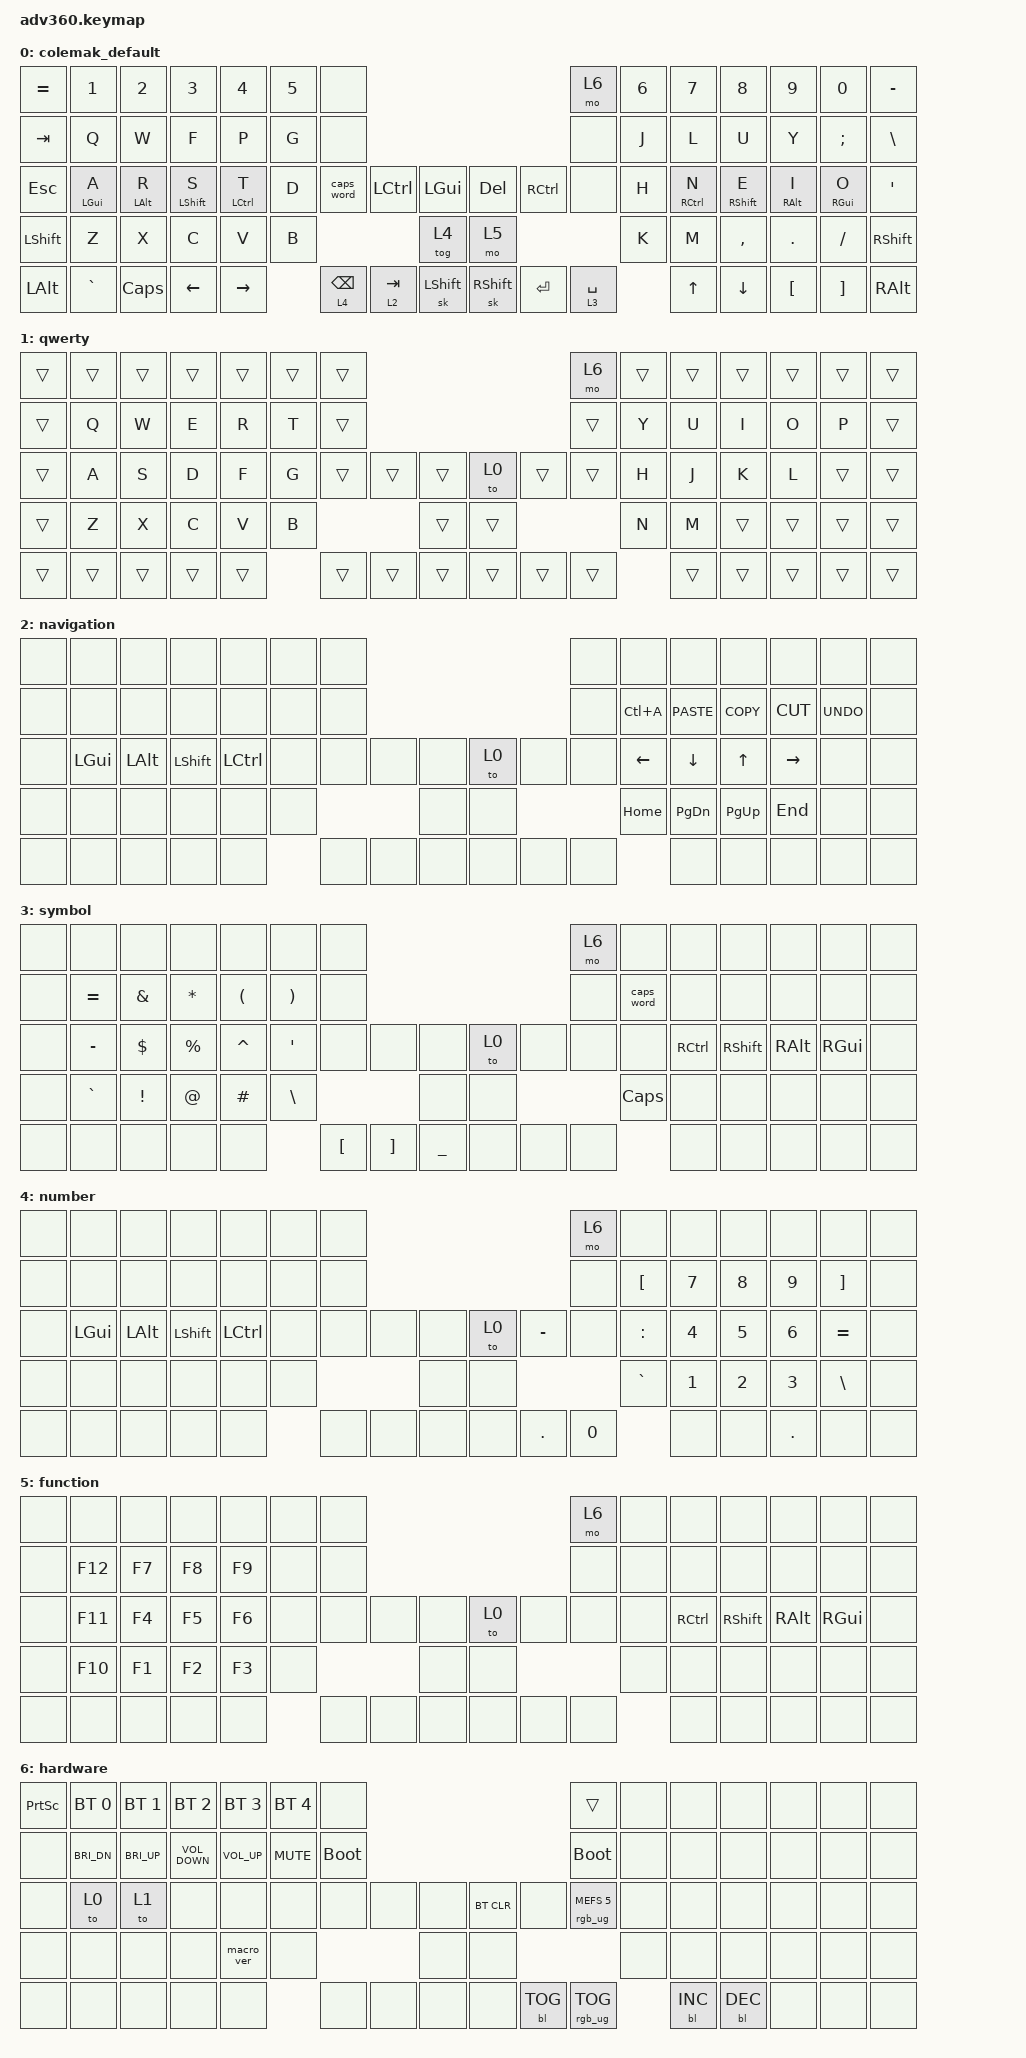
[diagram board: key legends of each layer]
/*
 * Copyright (c) 2020 The ZMK Contributors
 *
 * SPDX-License-Identifier: MIT
 */
/* THIS FILE WAS GENERATED!
 *
 * This file was generated automatically. You may or may not want to
 * edit it directly.
 */

#include <behaviors.dtsi>
#include <dt-bindings/zmk/backlight.h>
#include <dt-bindings/zmk/bt.h>
#include <dt-bindings/zmk/keys.h>
#include <dt-bindings/zmk/rgb.h>

&sk { quick-release; };

&lt {
    flavor = "balanced";
    quick-tap-ms = <175>;
};

&caps_word { continue-list = <UNDERSCORE BACKSPACE DELETE MINUS>; };

/ {
    behaviors {
        #include "macros.dtsi"
    #include "version.dtsi"

        hml: homerow_mods_left {
            compatible = "zmk,behavior-hold-tap";
            label = "HOMEROW_LEFT";
            #binding-cells = <2>;
            tapping-term-ms = <280>;
            quick_tap_ms = <175>;
            flavor = "balanced";
            bindings = <&kp>, <&kp>;

            quick-tap-ms = <175>;
            require-prior-idle-ms = <150>;
            hold-trigger-key-positions = <22 23 24 25 26 36 37 38 39 40 48 49 50 51 52 64 65 66 67 68 69 70 71 72 73 74 75>;
            hold-trigger-on-release;
        };

        hmr: homerow_mods_right {
            compatible = "zmk,behavior-hold-tap";
            label = "HOMEROW_RIGHT";
            #binding-cells = <2>;
            tapping-term-ms = <280>;
            quick_tap_ms = <175>;
            flavor = "balanced";
            bindings = <&kp>, <&kp>;

            quick-tap-ms = <175>;
            require-prior-idle-ms = <150>;
            hold-trigger-key-positions = <15 16 17 18 19 29 30 31 32 33 43 44 45 46 47 64 65 66 67 68 69 70 71 72 73 74 75>;
            hold-trigger-on-release;
        };
    };

    combos {
        compatible = "zmk,combos";

        combo_mo_fn {
            bindings = <&mo 5>;
            key-positions = <66 69>;
        };
    };

    keymap {
        compatible = "zmk,keymap";

        colemak_default {
            bindings = <
&kp EQUAL  &kp N1       &kp N2           &kp N3         &kp N4               &kp N5  &none                                                              &mo 6        &kp N6  &kp N7        &kp N8         &kp N9       &kp N0         &kp MINUS
&kp TAB    &kp Q        &kp W            &kp F          &kp P                &kp G   &none                                                              &none        &kp J   &kp L         &kp U          &kp Y        &kp SEMICOLON  &kp BSLH
&kp ESC    &hml LGUI A  &hml LEFT_ALT R  &hml LSHIFT S  &hml LEFT_CONTROL T  &kp D   &caps_word       &kp LCTRL  &kp LGUI        &kp DELETE  &kp RCTRL  &none        &kp H   &hmr RCTRL N  &hmr RSHIFT E  &hmr RALT I  &hmr RGUI O    &kp SQT
&kp LSHFT  &kp Z        &kp X            &kp C          &kp V                &kp B                               &tog 4          &mo 5                               &kp K   &kp M         &kp COMMA      &kp DOT      &kp FSLH       &kp RSHFT
&kp LALT   &kp GRAVE    &kp CAPSLOCK     &kp LEFT       &kp RIGHT                    &lt 4 BACKSPACE  &lt 2 TAB  &sk LSHIFT      &sk RSHIFT  &kp ENTER  &lt 3 SPACE          &kp UP        &kp DOWN       &kp LBKT     &kp RBKT       &kp RIGHT_ALT
            >;
        };

        qwerty {
            bindings = <
&trans  &trans  &trans  &trans  &trans  &trans  &trans                                      &mo 6   &trans  &trans  &trans  &trans  &trans  &trans
&trans  &kp Q   &kp W   &kp E   &kp R   &kp T   &trans                                      &trans  &kp Y   &kp U   &kp I   &kp O   &kp P   &trans
&trans  &kp A   &kp S   &kp D   &kp F   &kp G   &trans  &trans  &trans      &to 0   &trans  &trans  &kp H   &kp J   &kp K   &kp L   &trans  &trans
&trans  &kp Z   &kp X   &kp C   &kp V   &kp B                   &trans      &trans                  &kp N   &kp M   &trans  &trans  &trans  &trans
&trans  &trans  &trans  &trans  &trans          &trans  &trans  &trans      &trans  &trans  &trans          &trans  &trans  &trans  &trans  &trans
            >;
        };

        navigation {
            bindings = <
&none  &none     &none         &none           &none      &none  &none                                  &none  &none      &none          &none       &none      &none       &none
&none  &none     &none         &none           &none      &none  &none                                  &none  &kp LC(A)  &kp K_PASTE    &kp K_COPY  &kp K_CUT  &kp K_UNDO  &none
&none  &kp LGUI  &kp LEFT_ALT  &kp LEFT_SHIFT  &kp LCTRL  &none  &none  &none  &none      &to 0  &none  &none  &kp LEFT   &kp DOWN       &kp UP      &kp RIGHT  &none       &none
&none  &none     &none         &none           &none      &none                &none      &none                &kp HOME   &kp PAGE_DOWN  &kp PG_UP   &kp END    &none       &none
&none  &none     &none         &none           &none             &none  &none  &none      &none  &none  &none             &none          &none       &none      &none       &none
            >;
        };

        symbol {
            bindings = <
&none  &none      &none            &none         &none                 &none                  &none                                                                  &mo 6  &none         &none      &none       &none     &none     &none
&none  &kp EQUAL  &kp AMPERSAND    &kp ASTERISK  &kp LEFT_PARENTHESIS  &kp RIGHT_PARENTHESIS  &none                                                                  &none  &caps_word    &none      &none       &none     &none     &none
&none  &kp MINUS  &kp DOLLAR       &kp PERCENT   &kp CARET             &kp SQT                &none             &none              &none               &to 0  &none  &none  &none         &kp RCTRL  &kp RSHIFT  &kp RALT  &kp RGUI  &none
&none  &kp GRAVE  &kp EXCLAMATION  &kp AT        &kp HASH              &kp BACKSLASH                                               &none               &none                &kp CAPSLOCK  &none      &none       &none     &none     &none
&none  &none      &none            &none         &none                                        &kp LEFT_BRACKET  &kp RIGHT_BRACKET  &kp UNDERSCORE      &none  &none  &none                &none      &none       &none     &none     &none
            >;
        };

        number {
            bindings = <
&none  &none     &none     &none       &none      &none  &none                                       &mo 6   &none             &none         &none         &none         &none              &none
&none  &none     &none     &none       &none      &none  &none                                       &none   &kp LEFT_BRACKET  &kp N7        &kp N8        &kp N9        &kp RIGHT_BRACKET  &none
&none  &kp LGUI  &kp LALT  &kp LSHIFT  &kp LCTRL  &none  &none  &none  &none      &to 0  &kp MINUS   &none   &kp COLON         &kp NUMBER_4  &kp N5        &kp NUMBER_6  &kp EQUAL          &none
&none  &none     &none     &none       &none      &none                &none      &none                      &kp GRAVE         &kp NUMBER_1  &kp NUMBER_2  &kp NUMBER_3  &kp BACKSLASH      &none
&none  &none     &none     &none       &none             &none  &none  &none      &none  &kp PERIOD  &kp N0                    &none         &none         &kp PERIOD    &none              &none
            >;
        };

        function {
            bindings = <
&none  &none    &none   &none   &none   &none  &none                                  &mo 6  &none  &none      &none       &none     &none     &none
&none  &kp F12  &kp F7  &kp F8  &kp F9  &none  &none                                  &none  &none  &none      &none       &none     &none     &none
&none  &kp F11  &kp F4  &kp F5  &kp F6  &none  &none  &none  &none      &to 0  &none  &none  &none  &kp RCTRL  &kp RSHIFT  &kp RALT  &kp RGUI  &none
&none  &kp F10  &kp F1  &kp F2  &kp F3  &none                &none      &none                &none  &none      &none       &none     &none     &none
&none  &none    &none   &none   &none          &none  &none  &none      &none  &none  &none         &none      &none       &none     &none     &none
            >;
        };

        hardware {
            bindings = <
&kp PRINTSCREEN  &bt BT_SEL 0  &bt BT_SEL 1  &bt BT_SEL 2       &bt BT_SEL 3     &bt BT_SEL 4  &none                                                  &trans                  &none  &none       &none       &none  &none  &none
&none            &kp C_BRI_DN  &kp C_BRI_UP  &kp C_VOLUME_DOWN  &kp C_VOLUME_UP  &kp C_MUTE    &bootloader                                            &bootloader             &none  &none       &none       &none  &none  &none
&none            &to 0         &to 1         &none              &none            &none         &none        &none  &none      &bt BT_CLR  &none       &rgb_ug RGB_MEFS_CMD 5  &none  &none       &none       &none  &none  &none
&none            &none         &none         &none              &macro_ver       &none                             &none      &none                                           &none  &none       &none       &none  &none  &none
&none            &none         &none         &none              &none                          &none        &none  &none      &none       &bl BL_TOG  &rgb_ug RGB_TOG                &bl BL_INC  &bl BL_DEC  &none  &none  &none
            >;
        };
    };
};
